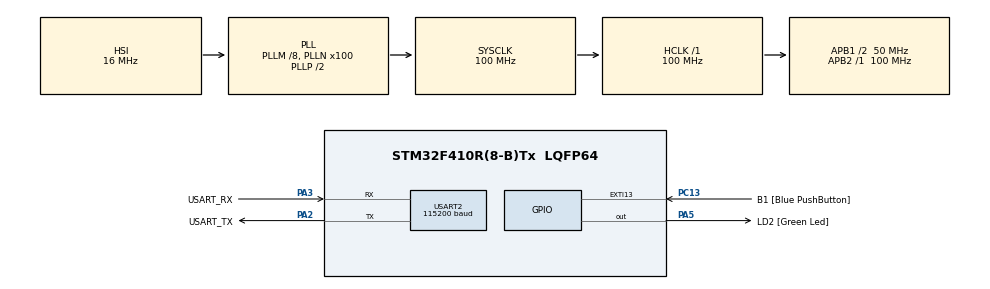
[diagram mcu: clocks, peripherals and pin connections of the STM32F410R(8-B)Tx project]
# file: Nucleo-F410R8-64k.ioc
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IWDG.Prescaler=IWDG_PRESCALER_4
IWDG.Reload=4095
Mcu.Family=STM32F4
Mcu.Name=STM32F410R(8-B)Tx
Mcu.Package=LQFP64
NVIC.PriorityGroup=NVIC_PRIORITYGROUP_0
PA13.GPIO_Label=TMS
PA13.Mode=Serial_Wire
PA13.Signal=SYS_JTMS-SWDIO
PA14.GPIO_Label=TCK
PA14.Mode=Serial_Wire
PA14.Signal=SYS_JTCK-SWCLK
PA2.GPIO_Label=USART_TX
PA2.Mode=Asynchronous
PA2.Signal=USART2_TX
PA3.GPIO_Label=USART_RX
PA3.Mode=Asynchronous
PA3.Signal=USART2_RX
PA5.GPIO_Label=LD2 [Green Led]
PA5.Signal=GPIO_Output
PB3.GPIO_Label=SWO
PB3.Signal=SYS_JTDO-SWO
PC13-ANTI_TAMP.GPIO_Label=B1 [Blue PushButton]
PC13-ANTI_TAMP.GPIO_ModeDefaultEXTI=GPIO_MODE_IT_FALLING
PC13-ANTI_TAMP.Signal=GPXTI13
PC14-OSC32_IN.Mode=LSE-External-Oscillator
PC14-OSC32_IN.Signal=RCC_OSC32_IN
PC15-OSC32_OUT.Mode=LSE-External-Oscillator
PC15-OSC32_OUT.Signal=RCC_OSC32_OUT
ProjectManager.HeapSize=0x200
ProjectManager.StackSize=0x400
ProjectManager.TargetToolchain=EWARM V7
RCC.48MHZClocksFreq_Value=50000000
RCC.AHBFreq_Value=100000000
RCC.APB1CLKDivider=RCC_HCLK_DIV2
RCC.APB1Freq_Value=50000000
RCC.APB1TimFreq_Value=100000000
RCC.APB2Freq_Value=100000000
RCC.APB2TimFreq_Value=100000000
RCC.CortexFreq_Value=100000000
RCC.FLatency=FLASH_LATENCY_3
RCC.HCLKFreq_Value=100000000
RCC.HSE_VALUE=25000000
RCC.HSI_VALUE=16000000
RCC.PLLM=8
RCC.PLLN=100
RCC.RCC_RTC_Clock_Source=RCC_RTCCLKSOURCE_LSE
RCC.RCC_RTC_Clock_SourceVirtual=RCC_RTCCLKSOURCE_LSE
RCC.SYSCLKFreq_VALUE=100000000
RCC.SYSCLKSource=RCC_SYSCLKSOURCE_PLLCLK
RCC.VCOOutputFreq_Value=200000000
RTC.AsynchPrediv=127
RTC.Date=1
RTC.DayLightSaving=RTC_DAYLIGHTSAVING_NONE
RTC.Format=RTC_FORMAT_BCD
RTC.HourFormat=RTC_HOURFORMAT_24
RTC.Hours=0
RTC.Minutes=0
RTC.Month=RTC_MONTH_JANUARY
RTC.Seconds=0
RTC.StoreOperation=RTC_STOREOPERATION_RESET
RTC.SynchPrediv=255
RTC.WeekDay=RTC_WEEKDAY_MONDAY
RTC.Year=0
USART2.BaudRate=115200
USART2.Mode=MODE_TX_RX
USART2.OverSampling=UART_OVERSAMPLING_16
USART2.Parity=PARITY_NONE
USART2.StopBits=STOPBITS_1
USART2.VirtualMode=VM_ASYNC
USART2.WordLength=WORDLENGTH_8B
VP_IWDG_VS_IWDG.Mode=IWDG_Activate
VP_RTC_VS_RTC_Activate.Mode=RTC_Enabled
board=NUCLEO-F410RB

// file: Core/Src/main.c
/* USER CODE BEGIN Header */
/**
  ******************************************************************************
  * @file           : main.c
  * @brief          : Main program body
  ******************************************************************************
  * @attention
  *
  * Copyright (c) 2023 STMicroelectronics.
  * All rights reserved.
  *
  * This software is licensed under terms that can be found in the LICENSE file
  * in the root directory of this software component.
  * If no LICENSE file comes with this software, it is provided AS-IS.
  *
  ******************************************************************************
  */
/* USER CODE END Header */
#include "main.h"

/* USER CODE BEGIN Includes */
#include <stdio.h>
/* USER CODE END Includes */

/* USER CODE BEGIN PD */
#define PUTCHAR_PROTOTYPE int fputc(int ch, FILE *f)

/* USER CODE END PD */

IWDG_HandleTypeDef hiwdg;

RTC_HandleTypeDef hrtc;

UART_HandleTypeDef huart2;

/* USER CODE BEGIN PV */
uint32_t sysTick;
/* USER CODE END PV */

void SystemClock_Config(void);
static void MX_GPIO_Init(void);
static void MX_USART2_UART_Init(void);
static void MX_IWDG_Init(void);
static void MX_RTC_Init(void);
/* USER CODE BEGIN PFP */

static void PatWDog(void)
{
  if (HAL_IWDG_Refresh(&hiwdg) != HAL_OK)
  {
    Error_Handler();
  }
}

static void Sleep(void)
{
  while (HAL_GetTick() < sysTick + 10 /* mS */)
      __WFI();
  sysTick = HAL_GetTick();
}
/* USER CODE END PFP */

int main(void)
{
  /* USER CODE BEGIN 1 */
  uint32_t delay = 100;

  /* USER CODE END 1 */

  /* MCU Configuration--------------------------------------------------------*/

  /* Reset of all peripherals, Initializes the Flash interface and the Systick. */
  HAL_Init();

  /* Configure the system clock */
  SystemClock_Config();

  /* Initialize all configured peripherals */
  MX_GPIO_Init();
  MX_USART2_UART_Init();
  MX_IWDG_Init();
  MX_RTC_Init();

  /* Infinite loop */
  while (1)
  {

    /* USER CODE BEGIN 3 */
    PatWDog();

    if (sysTick % delay == 0)
      LL_GPIO_TogglePin(LED);

    if (sysTick % 1000 == 0)
      printf("Time = %d\n\r",sysTick/1000);

    if (LL_GPIO_IsInputPinSet(BUTTON))
      delay = 100;
    else
      delay = 250;

    Sleep();
  }
  /* USER CODE END 3 */
}

void SystemClock_Config(void)
{
  RCC_OscInitTypeDef RCC_OscInitStruct = {0};
  RCC_ClkInitTypeDef RCC_ClkInitStruct = {0};

  /** Configure the main internal regulator output voltage
  */
  __HAL_RCC_PWR_CLK_ENABLE();
  __HAL_PWR_VOLTAGESCALING_CONFIG(PWR_REGULATOR_VOLTAGE_SCALE1);

  /** Initializes the RCC Oscillators according to the specified parameters
  * in the RCC_OscInitTypeDef structure.
  */
  RCC_OscInitStruct.OscillatorType = RCC_OSCILLATORTYPE_HSI|RCC_OSCILLATORTYPE_LSI
                              |RCC_OSCILLATORTYPE_LSE;
  RCC_OscInitStruct.LSEState = RCC_LSE_ON;
  RCC_OscInitStruct.HSIState = RCC_HSI_ON;
  RCC_OscInitStruct.HSICalibrationValue = RCC_HSICALIBRATION_DEFAULT;
  RCC_OscInitStruct.LSIState = RCC_LSI_ON;
  RCC_OscInitStruct.PLL.PLLState = RCC_PLL_ON;
  RCC_OscInitStruct.PLL.PLLSource = RCC_PLLSOURCE_HSI;
  RCC_OscInitStruct.PLL.PLLM = 8;
  RCC_OscInitStruct.PLL.PLLN = 100;
  RCC_OscInitStruct.PLL.PLLP = RCC_PLLP_DIV2;
  RCC_OscInitStruct.PLL.PLLQ = 4;
  RCC_OscInitStruct.PLL.PLLR = 2;
  if (HAL_RCC_OscConfig(&RCC_OscInitStruct) != HAL_OK)
  {
    Error_Handler();
  }

  /** Initializes the CPU, AHB and APB buses clocks
  */
  RCC_ClkInitStruct.ClockType = RCC_CLOCKTYPE_HCLK|RCC_CLOCKTYPE_SYSCLK
                              |RCC_CLOCKTYPE_PCLK1|RCC_CLOCKTYPE_PCLK2;
  RCC_ClkInitStruct.SYSCLKSource = RCC_SYSCLKSOURCE_PLLCLK;
  RCC_ClkInitStruct.AHBCLKDivider = RCC_SYSCLK_DIV1;
  RCC_ClkInitStruct.APB1CLKDivider = RCC_HCLK_DIV2;
  RCC_ClkInitStruct.APB2CLKDivider = RCC_HCLK_DIV1;

  if (HAL_RCC_ClockConfig(&RCC_ClkInitStruct, FLASH_LATENCY_3) != HAL_OK)
  {
    Error_Handler();
  }
}

static void MX_IWDG_Init(void)
{

  hiwdg.Instance = IWDG;
  hiwdg.Init.Prescaler = IWDG_PRESCALER_4;
  hiwdg.Init.Reload = 4095;
  if (HAL_IWDG_Init(&hiwdg) != HAL_OK)
  {
    Error_Handler();
  }

}

static void MX_RTC_Init(void)
{

  /** Initialize RTC Only
  */
  hrtc.Instance = RTC;
  hrtc.Init.HourFormat = RTC_HOURFORMAT_24;
  hrtc.Init.AsynchPrediv = 127;
  hrtc.Init.SynchPrediv = 255;
  hrtc.Init.OutPut = RTC_OUTPUT_DISABLE;
  hrtc.Init.OutPutPolarity = RTC_OUTPUT_POLARITY_HIGH;
  hrtc.Init.OutPutType = RTC_OUTPUT_TYPE_OPENDRAIN;
  if (HAL_RTC_Init(&hrtc) != HAL_OK)
  {
    Error_Handler();
  }

}

static void MX_USART2_UART_Init(void)
{

  huart2.Instance = USART2;
  huart2.Init.BaudRate = 115200;
  huart2.Init.WordLength = UART_WORDLENGTH_8B;
  huart2.Init.StopBits = UART_STOPBITS_1;
  huart2.Init.Parity = UART_PARITY_NONE;
  huart2.Init.Mode = UART_MODE_TX_RX;
  huart2.Init.HwFlowCtl = UART_HWCONTROL_NONE;
  huart2.Init.OverSampling = UART_OVERSAMPLING_16;
  if (HAL_UART_Init(&huart2) != HAL_OK)
  {
    Error_Handler();
  }

}

static void MX_GPIO_Init(void)
{
  LL_EXTI_InitTypeDef EXTI_InitStruct = {0};
  LL_GPIO_InitTypeDef GPIO_InitStruct = {0};

  /* GPIO Ports Clock Enable */
  LL_AHB1_GRP1_EnableClock(LL_AHB1_GRP1_PERIPH_GPIOC);
  LL_AHB1_GRP1_EnableClock(LL_AHB1_GRP1_PERIPH_GPIOA);
  LL_AHB1_GRP1_EnableClock(LL_AHB1_GRP1_PERIPH_GPIOB);

  /**/
  LL_GPIO_ResetOutputPin(LD2_GPIO_Port, LD2_Pin);

  /**/
  LL_SYSCFG_SetEXTISource(LL_SYSCFG_EXTI_PORTC, LL_SYSCFG_EXTI_LINE13);

  /**/
  EXTI_InitStruct.Line_0_31 = LL_EXTI_LINE_13;
  EXTI_InitStruct.LineCommand = ENABLE;
  EXTI_InitStruct.Mode = LL_EXTI_MODE_IT;
  EXTI_InitStruct.Trigger = LL_EXTI_TRIGGER_FALLING;
  LL_EXTI_Init(&EXTI_InitStruct);

  /**/
  LL_GPIO_SetPinPull(B1_GPIO_Port, B1_Pin, LL_GPIO_PULL_NO);

  /**/
  LL_GPIO_SetPinMode(B1_GPIO_Port, B1_Pin, LL_GPIO_MODE_INPUT);

  /**/
  GPIO_InitStruct.Pin = LD2_Pin;
  GPIO_InitStruct.Mode = LL_GPIO_MODE_OUTPUT;
  GPIO_InitStruct.Speed = LL_GPIO_SPEED_FREQ_LOW;
  GPIO_InitStruct.OutputType = LL_GPIO_OUTPUT_PUSHPULL;
  GPIO_InitStruct.Pull = LL_GPIO_PULL_NO;
  LL_GPIO_Init(LD2_GPIO_Port, &GPIO_InitStruct);

}

/* USER CODE BEGIN 4 */
/**
  * @brief  Retargets the C library printf function to the USART.
  * @param  None
  * @retval None
  */
PUTCHAR_PROTOTYPE
{
  /* Place your implementation of fputc here */
  /* e.g. write a character to the EVAL_COM1 and Loop until the end of transmission */
  HAL_UART_Transmit(&huart2, (uint8_t *)&ch, 1, 0xFFFF);

  return ch;
}

/* USER CODE END 4 */

void Error_Handler(void)
{
  __disable_irq();
  while (1)
  {
  }
}
